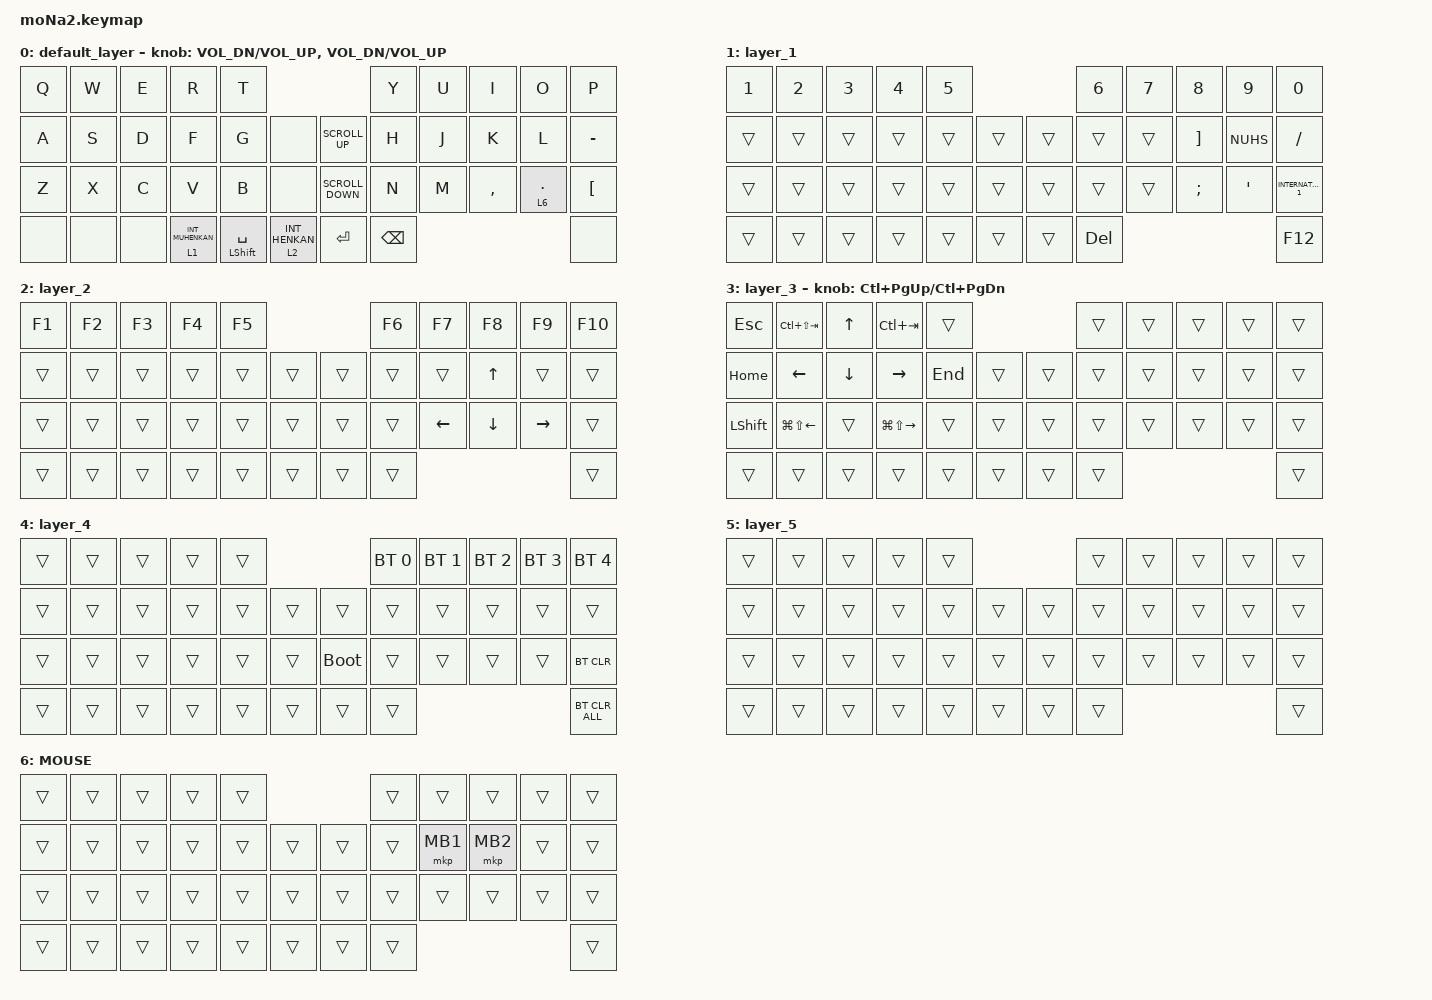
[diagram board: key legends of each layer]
#include <behaviors.dtsi>
#include <dt-bindings/zmk/bt.h>
#include <dt-bindings/zmk/keys.h>
#include <dt-bindings/zmk/mouse.h>

#define MOUSE 6

/ {
    combos {
        compatible = "zmk,combos";

        ctrlAndTab {
            bindings = <&mt LCTRL TAB>;
            key-positions = <39 38>;
        };
    };

    keymap {
        compatible = "zmk,keymap";

        default_layer {
            bindings = <
&kp Q  &kp W  &kp E  &kp R               &kp T                                                        &kp Y          &kp U  &kp I      &kp O         &kp P
&kp A  &kp S  &kp D  &kp F               &kp G                 &none               &kp K_SCROLL_UP    &kp H          &kp J  &kp K      &kp L         &kp MINUS
&kp Z  &kp X  &kp C  &kp V               &kp B                 &none               &kp K_SCROLL_DOWN  &kp N          &kp M  &kp COMMA  &lt 6 PERIOD  &kp LBKT
&none  &none  &none  &lt 1 INT_MUHENKAN  &mt LEFT_SHIFT SPACE  &lt 2 INT_HENKAN    &kp ENTER          &kp BACKSPACE                                  &none
            >;

            sensor-bindings = <&inc_dec_kp C_VOL_DN C_VOL_UP &inc_dec_kp C_VOL_DN C_VOL_UP>;
        };

        layer_1 {
            bindings = <
&kp N1  &kp N2  &kp N3  &kp N4  &kp N5                    &kp N6   &kp N7  &kp N8    &kp N9    &kp N0
&trans  &trans  &trans  &trans  &trans  &trans    &trans  &trans   &trans  &kp RBKT  &kp NUHS  &kp SLASH
&trans  &trans  &trans  &trans  &trans  &trans    &trans  &trans   &trans  &kp SEMI  &kp SQT   &kp INTERNATIONAL_1
&trans  &trans  &trans  &trans  &trans  &trans    &trans  &kp DEL                              &kp F12
            >;
        };

        layer_2 {
            bindings = <
&kp F1  &kp F2  &kp F3  &kp F4  &kp F5                    &kp F6  &kp F7          &kp F8          &kp F9     &kp F10
&trans  &trans  &trans  &trans  &trans  &trans    &trans  &trans  &trans          &kp UP_ARROW    &trans     &trans
&trans  &trans  &trans  &trans  &trans  &trans    &trans  &trans  &kp LEFT_ARROW  &kp DOWN_ARROW  &kp RIGHT  &trans
&trans  &trans  &trans  &trans  &trans  &trans    &trans  &trans                                             &trans
            >;
        };

        layer_3 {
            bindings = <
&kp ESCAPE      &kp LC(LS(TAB))         &kp UP_ARROW    &kp LC(TAB)              &trans                     &trans  &trans  &trans  &trans  &trans
&kp HOME        &kp LEFT_ARROW          &kp DOWN_ARROW  &kp RIGHT_ARROW          &kp END  &trans    &trans  &trans  &trans  &trans  &trans  &trans
&kp LEFT_SHIFT  &kp LG(LS(LEFT_ARROW))  &trans          &kp LG(LS(RIGHT_ARROW))  &trans   &trans    &trans  &trans  &trans  &trans  &trans  &trans
&trans          &trans                  &trans          &trans                   &trans   &trans    &trans  &trans                          &trans
            >;

            sensor-bindings = <&inc_dec_kp LC(PAGE_UP) LC(PAGE_DOWN)>;
        };

        layer_4 {
            bindings = <
&trans  &trans  &trans  &trans  &trans                         &bt BT_SEL 0  &bt BT_SEL 1  &bt BT_SEL 2  &bt BT_SEL 3  &bt BT_SEL 4
&trans  &trans  &trans  &trans  &trans  &trans    &trans       &trans        &trans        &trans        &trans        &trans
&trans  &trans  &trans  &trans  &trans  &trans    &bootloader  &trans        &trans        &trans        &trans        &bt BT_CLR
&trans  &trans  &trans  &trans  &trans  &trans    &trans       &trans                                                  &bt BT_CLR_ALL
            >;
        };

        layer_5 {
            bindings = <
&trans  &trans  &trans  &trans  &trans                    &trans  &trans  &trans  &trans  &trans
&trans  &trans  &trans  &trans  &trans  &trans    &trans  &trans  &trans  &trans  &trans  &trans
&trans  &trans  &trans  &trans  &trans  &trans    &trans  &trans  &trans  &trans  &trans  &trans
&trans  &trans  &trans  &trans  &trans  &trans    &trans  &trans                          &trans
            >;
        };

        MOUSE {
            bindings = <
&trans  &trans  &trans  &trans  &trans                    &trans  &trans    &trans    &trans  &trans
&trans  &trans  &trans  &trans  &trans  &trans    &trans  &trans  &mkp MB1  &mkp MB2  &trans  &trans
&trans  &trans  &trans  &trans  &trans  &trans    &trans  &trans  &trans    &trans    &trans  &trans
&trans  &trans  &trans  &trans  &trans  &trans    &trans  &trans                              &trans
            >;
        };
    };
};
